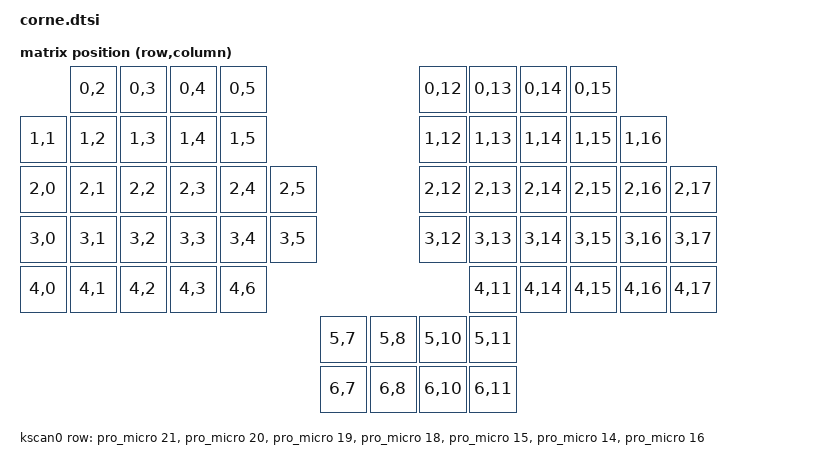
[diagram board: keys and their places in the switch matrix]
#include <dt-bindings/zmk/matrix_transform.h>

/ {
    chosen {
        zmk,kscan = &kscan0;
        zmk,matrix_transform = &default_transform;
    };

    default_transform: keymap_transform_0 {
        compatible = "zmk,matrix-transform";
        columns = <18>;  
        rows = <7>;    

        // QMK Layout mapping from kb.h:
        //              | K002 | K003 | K004 | K005 |                                      | K012 | K013 | K014 | K015 |              
        //        | K101 | K102 | K103 | K104 | K105 |                                      | K112 | K113 | K114 | K115 | K116 |      
        //  | K200 | K201 | K202 | K203 | K204 | K205 |                                      | K212 | K213 | K214 | K215 | K216 | K217 |
        //  | K300 | K301 | K302 | K303 | K304 | K305 |                                      | K312 | K313 | K314 | K315 | K316 | K317 |
        //  | K400 | K401 | K402 | K403 |             | K406 |                          | K411 |             | K414 | K415 | K416 | K417 |
        //                                                  | K507 | K508 |      | K510 | K511 |                                     
        //                                                  | K607 | K608 |      | K610 | K611 |

        map = < 
                    RC(0,2) RC(0,3) RC(0,4) RC(0,5)                                             RC(0,12) RC(0,13) RC(0,14) RC(0,15)
            RC(1,1) RC(1,2) RC(1,3) RC(1,4) RC(1,5)                                             RC(1,12) RC(1,13) RC(1,14) RC(1,15) RC(1,16)
            RC(2,0) RC(2,1) RC(2,2) RC(2,3) RC(2,4) RC(2,5)                                     RC(2,12) RC(2,13) RC(2,14) RC(2,15) RC(2,16) RC(2,17)
            RC(3,0) RC(3,1) RC(3,2) RC(3,3) RC(3,4) RC(3,5)                                     RC(3,12) RC(3,13) RC(3,14) RC(3,15) RC(3,16) RC(3,17)
            RC(4,0) RC(4,1) RC(4,2) RC(4,3)                 RC(4,6)                     RC(4,11)                 RC(4,14) RC(4,15) RC(4,16) RC(4,17)
                                                                    RC(5,7) RC(5,8)     RC(5,10) RC(5,11)
                                                                    RC(6,7) RC(6,8)     RC(6,10) RC(6,11)
        >;
    };

    kscan0: kscan {
        compatible = "zmk,kscan-gpio-matrix";
        wakeup-source;
        diode-direction = "col2row";
        // Row pins mapping from QMK: B0, B1, B2, B3, B4, B5, B6 (7 rows)
        row-gpios = 
                    <&pro_micro 21 (GPIO_ACTIVE_HIGH | GPIO_PULL_DOWN)>,
                    <&pro_micro 20 (GPIO_ACTIVE_HIGH | GPIO_PULL_DOWN)>,
                    <&pro_micro 19 (GPIO_ACTIVE_HIGH | GPIO_PULL_DOWN)>,
                    <&pro_micro 18 (GPIO_ACTIVE_HIGH | GPIO_PULL_DOWN)>,
                    <&pro_micro 15 (GPIO_ACTIVE_HIGH | GPIO_PULL_DOWN)>,
                    <&pro_micro 14 (GPIO_ACTIVE_HIGH | GPIO_PULL_DOWN)>,
                    <&pro_micro 16 (GPIO_ACTIVE_HIGH | GPIO_PULL_DOWN)>;
    };
};
